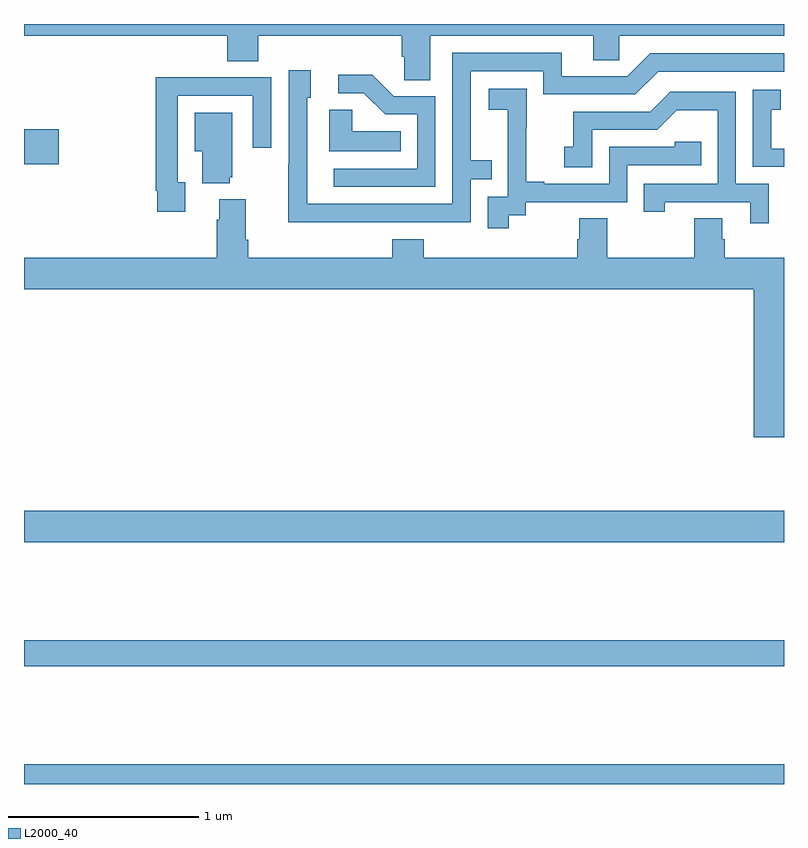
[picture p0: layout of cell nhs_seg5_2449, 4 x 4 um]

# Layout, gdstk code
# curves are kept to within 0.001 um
import gdstk
lib = gdstk.Library(unit=1e-6, precision=1e-09)
def R(c, l, rs):  # rectangles x0, y0, x1, y1
    for r in rs: c.add(gdstk.rectangle(r[:2], r[2:], *l))
def P(c, l, *ps):  # polygons
    for p in ps: c.add(gdstk.Polygon(p, *l))
L2000_40 = (2000, 40)

nhs_seg5_2449 = lib.new_cell('nhs_seg5_2449')
R(nhs_seg5_2449, L2000_40, [(253,876.799,257,876.904), (253,877.42,257,877.556), (253,878.072,257,878.236), (253,880.061,253.183,880.244)])
P(nhs_seg5_2449, L2000_40, [(255.139,880.736),(255.995,880.736),(255.995,880.609),(256.134,880.609),(256.134,880.736),(257,880.736),(257,880.799),(253,880.799),(253,880.736),(254.069,880.736),(254.069,880.603),(254.234,880.603),(254.234,880.736),(254.987,880.736),(254.987,880.627),(255,880.627),(255,880.504),(255.139,880.504)],
  [(254.855,879.756),(255.351,879.756),(255.351,879.981),(255.461,879.981),(255.461,880.082),(255.351,880.082),(255.351,880.551),(255.732,880.551),(255.732,880.428),(256.218,880.428),(256.338,880.548),(257,880.548),(257,880.644),(256.296,880.644),(256.176,880.524),(255.829,880.524),(255.829,880.647),(255.255,880.647),(255.255,879.852),(254.49,879.852),(254.49,880.41),(254.509,880.41),(254.509,880.555),(254.394,880.555),(254.394,880.061),(254.392,880.061),(254.392,879.755)],
  [(255.165,880.419),(254.946,880.419),(254.833,880.532),(254.655,880.532),(254.655,880.434),(254.789,880.434),(254.9,880.323),(255.069,880.323),(255.069,880.038),(254.631,880.038),(254.631,879.942),(255.165,879.942)],
  [(253.849,879.966),(253.809,879.966),(253.809,880.422),(254.205,880.422),(254.205,880.149),(254.301,880.149),(254.301,880.518),(253.985,880.518),(253.985,880.52),(253.693,880.52),(253.693,879.922),(253.701,879.922),(253.701,879.81),(253.849,879.81)],
  [(255.55,879.793),(255.642,879.793),(255.642,879.861),(256.176,879.861),(256.176,880.056),(256.565,880.056),(256.565,880.179),(256.425,880.179),(256.425,880.152),(256.08,880.152),(256.08,879.957),(255.739,879.957),(255.739,879.97),(255.644,879.97),(255.644,880.253),(255.645,880.253),(255.645,880.459),(255.447,880.459),(255.447,880.349),(255.545,880.349),(255.545,880.121),(255.546,880.121),(255.546,879.891),(255.441,879.891),(255.441,879.723),(255.55,879.723)],
  [(257,880.143),(256.933,880.143),(256.933,880.347),(256.982,880.347),(256.982,880.453),(256.836,880.453),(256.836,880.047),(257,880.047)],
  [(256.92,879.957),(256.746,879.957),(256.746,880.443),(256.4,880.443),(256.295,880.338),(255.892,880.338),(255.892,880.153),(255.843,880.153),(255.843,880.044),(255.99,880.044),(255.99,880.242),(256.332,880.242),(256.436,880.346),(256.65,880.346),(256.65,879.957),(256.261,879.957),(256.261,879.81),(256.372,879.81),(256.372,879.861),(256.823,879.861),(256.823,879.75),(256.92,879.75)],
  [(254.984,880.234),(254.727,880.234),(254.727,880.349),(254.606,880.349),(254.606,880.13),(254.984,880.13)],
  [(254.084,879.993),(254.095,879.993),(254.095,880.333),(253.898,880.333),(253.898,880.13),(253.937,880.13),(253.937,879.962),(254.084,879.962)],
  [(256.675,879.666),(256.675,879.776),(256.528,879.776),(256.528,879.568),(256.071,879.568),(256.071,879.776),(255.923,879.776),(255.923,879.666),(255.911,879.666),(255.911,879.568),(255.104,879.568),(255.104,879.667),(254.939,879.667),(254.939,879.568),(254.18,879.568),(254.18,879.664),(254.167,879.664),(254.167,879.877),(254.027,879.877),(254.027,879.77),(254.015,879.77),(254.015,879.568),(253,879.568),(253,879.404),(256.841,879.404),(256.841,878.625),(257,878.625),(257,879.568),(256.688,879.568),(256.688,879.666)])

lib.write_gds('nhs_seg5_2449.gds')
